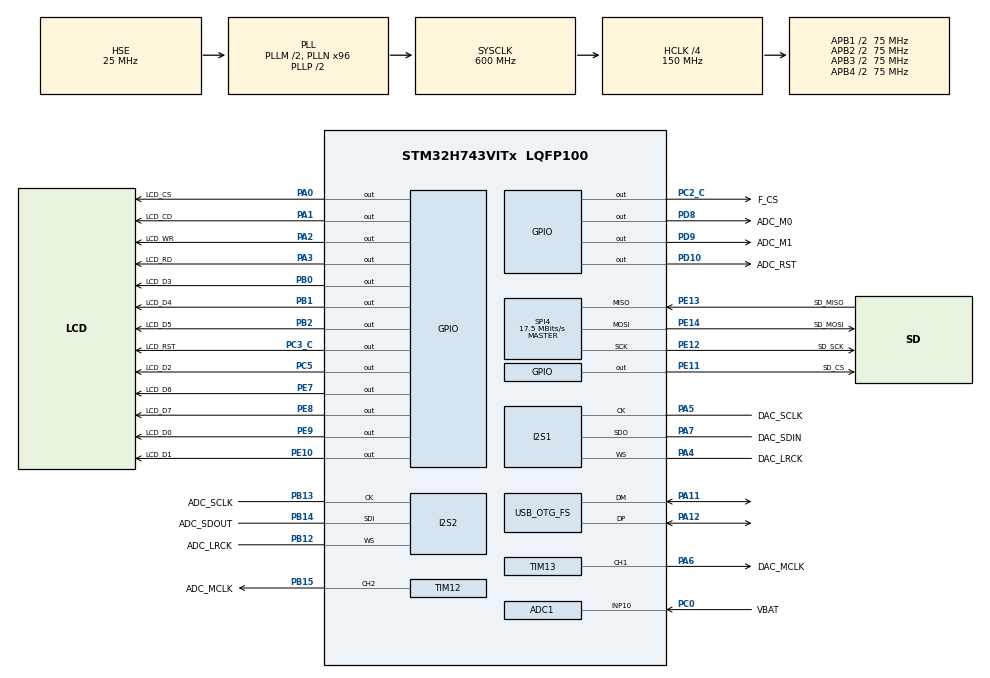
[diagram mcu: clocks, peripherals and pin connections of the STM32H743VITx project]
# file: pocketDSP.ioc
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ADC1.Channel-2\#ChannelRegularConversion=ADC_CHANNEL_10
ADC1.NbrOfConversionFlag=1
ADC1.OffsetNumber-2\#ChannelRegularConversion=ADC_OFFSET_NONE
ADC1.OffsetSignedSaturation-2\#ChannelRegularConversion=DISABLE
ADC1.Rank-2\#ChannelRegularConversion=1
ADC1.Resolution=ADC_RESOLUTION_12B_OPT
ADC1.SamplingTime-2\#ChannelRegularConversion=ADC_SAMPLETIME_8CYCLES_5
ADC1.master=1
CORTEX_M7.CPU_DCache=Enabled
CORTEX_M7.CPU_ICache=Enabled
I2S1.AudioFreq=I2S_AUDIOFREQ_48K
I2S1.DataFormat=I2S_DATAFORMAT_24B
I2S1.ErrorAudioFreq=1.72 %
I2S1.FullDuplexMode=I2S_MODE_SLAVE_FD
I2S1.Instance=SPI$Index
I2S1.RealAudioFreq=48.828 KHz
I2S1.Standard=I2S_STANDARD_MSB
I2S1.VirtualMode=I2S_MODE_MASTER
I2S1.WSInversion=I2S_WS_INVERSION_ENABLE
I2S2.AudioFreq=I2S_AUDIOFREQ_48K
I2S2.DataFormat=I2S_DATAFORMAT_24B
I2S2.ErrorAudioFreq=1.72 %
I2S2.FullDuplexMode=I2S_MODE_SLAVE_FD
I2S2.Instance=SPI$Index
I2S2.RealAudioFreq=48.828 KHz
I2S2.Standard=I2S_STANDARD_MSB
I2S2.VirtualMode=I2S_MODE_SLAVE
I2S2.WSInversion=I2S_WS_INVERSION_ENABLE
Mcu.Family=STM32H7
Mcu.Name=STM32H743VITx
Mcu.Package=LQFP100
NVIC.OTG_FS_IRQn=true\:0\:0\:false\:false\:true\:false\:true
NVIC.PriorityGroup=NVIC_PRIORITYGROUP_4
NVIC.TIM17_IRQn=true\:0\:0\:false\:false\:true\:true\:true
NVIC.TIM8_TRG_COM_TIM14_IRQn=true\:0\:0\:false\:false\:true\:true\:true
PA0.GPIO_Label=LCD_CS
PA0.GPIO_Speed=GPIO_SPEED_FREQ_VERY_HIGH
PA0.Signal=GPIO_Output
PA1.GPIO_Label=LCD_CD
PA1.GPIO_Speed=GPIO_SPEED_FREQ_VERY_HIGH
PA1.Signal=GPIO_Output
PA11.Mode=Device_Only
PA11.Signal=USB_OTG_FS_DM
PA12.Mode=Device_Only
PA12.Signal=USB_OTG_FS_DP
PA2.GPIO_Label=LCD_WR
PA2.GPIO_Speed=GPIO_SPEED_FREQ_VERY_HIGH
PA2.Signal=GPIO_Output
PA3.GPIO_Label=LCD_RD
PA3.GPIO_Speed=GPIO_SPEED_FREQ_VERY_HIGH
PA3.PinState=GPIO_PIN_SET
PA3.Signal=GPIO_Output
PA4.GPIO_Label=DAC_LRCK
PA4.GPIO_Speed=GPIO_SPEED_FREQ_VERY_HIGH
PA4.Mode=Half_Duplex_Master_Tx
PA4.Signal=I2S1_WS
PA5.GPIO_Label=DAC_SCLK
PA5.GPIO_Speed=GPIO_SPEED_FREQ_VERY_HIGH
PA5.Mode=Half_Duplex_Master_Tx
PA5.Signal=I2S1_CK
PA6.GPIO_Label=DAC_MCLK
PA6.GPIO_Speed=GPIO_SPEED_FREQ_VERY_HIGH
PA6.Signal=S_TIM13_CH1
PA7.GPIO_Label=DAC_SDIN
PA7.GPIO_Speed=GPIO_SPEED_FREQ_VERY_HIGH
PA7.Mode=Half_Duplex_Master_Tx
PA7.Signal=I2S1_SDO
PB0.GPIO_Label=LCD_D3
PB0.GPIO_Speed=GPIO_SPEED_FREQ_VERY_HIGH
PB0.Signal=GPIO_Output
PB1.GPIO_Label=LCD_D4
PB1.GPIO_Speed=GPIO_SPEED_FREQ_VERY_HIGH
PB1.Signal=GPIO_Output
PB12.GPIO_Label=ADC_LRCK
PB12.GPIO_Speed=GPIO_SPEED_FREQ_VERY_HIGH
PB12.Mode=Half_Duplex_Master_Rx
PB12.Signal=I2S2_WS
PB13.GPIO_Label=ADC_SCLK
PB13.GPIO_Speed=GPIO_SPEED_FREQ_VERY_HIGH
PB13.Mode=Half_Duplex_Master_Rx
PB13.Signal=I2S2_CK
PB14.GPIO_Label=ADC_SDOUT
PB14.GPIO_PuPd=GPIO_PULLDOWN
PB14.GPIO_Speed=GPIO_SPEED_FREQ_VERY_HIGH
PB14.Mode=Half_Duplex_Master_Rx
PB14.Signal=I2S2_SDI
PB15.GPIO_Label=ADC_MCLK
PB15.GPIO_Speed=GPIO_SPEED_FREQ_VERY_HIGH
PB15.Signal=S_TIM12_CH2
PB2.GPIO_Label=LCD_D5
PB2.GPIO_Speed=GPIO_SPEED_FREQ_VERY_HIGH
PB2.Signal=GPIO_Output
PC0.GPIO_Label=VBAT
PC0.Signal=ADCx_INP10
PC2_C.GPIO_Label=F_CS
PC2_C.GPIO_Speed=GPIO_SPEED_FREQ_VERY_HIGH
PC2_C.PinState=GPIO_PIN_SET
PC2_C.Signal=GPIO_Output
PC3_C.GPIO_Label=LCD_RST
PC3_C.GPIO_Speed=GPIO_SPEED_FREQ_VERY_HIGH
PC3_C.Signal=GPIO_Output
PC5.GPIO_Label=LCD_D2
PC5.GPIO_Speed=GPIO_SPEED_FREQ_VERY_HIGH
PC5.Signal=GPIO_Output
PD10.GPIO_Label=ADC_RST
PD10.GPIO_Speed=GPIO_SPEED_FREQ_VERY_HIGH
PD10.PinState=GPIO_PIN_RESET
PD10.Signal=GPIO_Output
PD8.GPIO_Label=ADC_M0
PD8.GPIO_Speed=GPIO_SPEED_FREQ_VERY_HIGH
PD8.PinState=GPIO_PIN_SET
PD8.Signal=GPIO_Output
PD9.GPIO_Label=ADC_M1
PD9.GPIO_Speed=GPIO_SPEED_FREQ_VERY_HIGH
PD9.PinState=GPIO_PIN_SET
PD9.Signal=GPIO_Output
PE10.GPIO_Label=LCD_D1
PE10.GPIO_Speed=GPIO_SPEED_FREQ_VERY_HIGH
PE10.Signal=GPIO_Output
PE11.GPIO_Label=SD_CS
PE11.GPIO_Speed=GPIO_SPEED_FREQ_VERY_HIGH
PE11.Signal=GPIO_Output
PE12.GPIO_Label=SD_SCK
PE12.GPIO_Speed=GPIO_SPEED_FREQ_VERY_HIGH
PE12.Mode=Full_Duplex_Master
PE12.Signal=SPI4_SCK
PE13.GPIO_Label=SD_MISO
PE13.GPIO_Speed=GPIO_SPEED_FREQ_VERY_HIGH
PE13.Mode=Full_Duplex_Master
PE13.Signal=SPI4_MISO
PE14.GPIO_Label=SD_MOSI
PE14.GPIO_Speed=GPIO_SPEED_FREQ_VERY_HIGH
PE14.Mode=Full_Duplex_Master
PE14.Signal=SPI4_MOSI
PE7.GPIO_Label=LCD_D6
PE7.GPIO_Speed=GPIO_SPEED_FREQ_VERY_HIGH
PE7.Signal=GPIO_Output
PE8.GPIO_Label=LCD_D7
PE8.GPIO_Speed=GPIO_SPEED_FREQ_VERY_HIGH
PE8.Signal=GPIO_Output
PE9.GPIO_Label=LCD_D0
PE9.GPIO_Speed=GPIO_SPEED_FREQ_VERY_HIGH
PE9.Signal=GPIO_Output
PH0-OSC_IN\ (PH0).Mode=HSE-External-Oscillator
PH0-OSC_IN\ (PH0).Signal=RCC_OSC_IN
PH1-OSC_OUT\ (PH1).Mode=HSE-External-Oscillator
PH1-OSC_OUT\ (PH1).Signal=RCC_OSC_OUT
ProjectManager.HeapSize=0x200
ProjectManager.StackSize=0x400
ProjectManager.TargetToolchain=STM32CubeIDE
RCC.ADCFreq_Value=35000000
RCC.APB1Freq_Value=75000000
RCC.APB2Freq_Value=75000000
RCC.APB3Freq_Value=75000000
RCC.APB4Freq_Value=75000000
RCC.CortexFreq_Value=600000000
RCC.D1PPRE=RCC_APB3_DIV2
RCC.D2PPRE1=RCC_APB1_DIV2
RCC.D2PPRE2=RCC_APB2_DIV2
RCC.D3PPRE=RCC_APB4_DIV2
RCC.DIVM1=2
RCC.DIVM2=2
RCC.DIVM3=2
RCC.DIVN1=96
RCC.DIVN2=14
RCC.DIVN3=16
RCC.DIVP2=5
RCC.DIVP3=4
RCC.DIVQ1=16
RCC.DIVQ2=5
RCC.HCLKFreq_Value=150000000
RCC.HPRE=RCC_HCLK_DIV4
RCC.PLL2FRACN=0
RCC.PLL3FRACN=0
RCC.PLLFRACN=0
RCC.PLLSourceVirtual=RCC_PLLSOURCE_HSE
RCC.SPI123CLockSelection=RCC_SPI123CLKSOURCE_PLL3
RCC.SYSCLKFreq_VALUE=600000000
RCC.SYSCLKSource=RCC_SYSCLKSOURCE_PLLCLK
RCC.Spi45ClockSelection=RCC_SPI45CLKSOURCE_PLL2
RCC.USBCLockSelection=RCC_USBCLKSOURCE_HSI48
RCC.USBFreq_Value=48000000
SH.ADCx_INP10.0=ADC1_INP10,IN10-Single-Ended
SH.S_TIM12_CH2.0=TIM12_CH2,PWM Generation2 CH2
SH.S_TIM13_CH1.0=TIM13_CH1,PWM Generation1 CH1
SPI4.CalculateBaudRate=17.5 MBits/s
SPI4.Direction=SPI_DIRECTION_2LINES
SPI4.Mode=SPI_MODE_MASTER
SPI4.VirtualType=VM_MASTER
TIM12.Channel-PWM\ Generation2\ CH2=TIM_CHANNEL_2
TIM12.Period=5
TIM12.Prescaler=0
TIM12.Pulse-PWM\ Generation2\ CH2=3
TIM13.Channel=TIM_CHANNEL_1
TIM13.Period=11
TIM13.Prescaler=0
TIM13.Pulse=7
TIM14.Channel=TIM_CHANNEL_1
TIM14.Period=767
TIM14.Prescaler=3
TIM16.Channel=TIM_CHANNEL_1
TIM16.Prescaler=149
TIM17.Channel=TIM_CHANNEL_1
TIM17.Period=999
TIM17.Prescaler=149
USB_DEVICE.CLASS_NAME_FS=CDC
USB_DEVICE.VirtualMode-CDC_FS=Cdc
USB_DEVICE.VirtualModeFS=Cdc_FS
USB_OTG_FS.VirtualMode=Device_Only
VP_TIM12_VS_ClockSourceINT.Mode=Internal
VP_TIM13_VS_ClockSourceINT.Mode=Enable_Timer
VP_TIM14_VS_ClockSourceINT.Mode=Enable_Timer
VP_TIM14_VS_no_output1.Mode=Output Compare1 No Output
VP_TIM16_VS_ClockSourceINT.Mode=Enable_Timer
VP_TIM16_VS_no_output1.Mode=Output Compare1 No Output
VP_TIM17_VS_ClockSourceINT.Mode=Enable_Timer
VP_TIM17_VS_no_output1.Mode=Output Compare1 No Output
VP_USB_DEVICE_VS_USB_DEVICE_CDC_FS.Mode=CDC_FS
VP_VREFBUF_V_VREFBUF.Mode=ExternalMode
board=custom

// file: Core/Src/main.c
/* USER CODE BEGIN Header */
/**
 ******************************************************************************
 * @file           : main.c
 * @brief          : Main program body
 ******************************************************************************
 * @attention
 *
 * <h2><center>&copy; Copyright (c) 2021 STMicroelectronics.
 * All rights reserved.</center></h2>
 *
 * This software component is licensed by ST under BSD 3-Clause license,
 * the "License"; You may not use this file except in compliance with the
 * License. You may obtain a copy of the License at:
 *                        opensource.org/licenses/BSD-3-Clause
 *
 ******************************************************************************
 */
/* USER CODE END Header */
#include "main.h"
#include "usb_device.h"

/* USER CODE BEGIN Includes */
#include "tft.h"
#include "system.h"
/* USER CODE END Includes */

ADC_HandleTypeDef hadc1;

I2S_HandleTypeDef hi2s1;
I2S_HandleTypeDef hi2s2;

SPI_HandleTypeDef hspi4;

TIM_HandleTypeDef htim12;
TIM_HandleTypeDef htim13;
TIM_HandleTypeDef htim14;
TIM_HandleTypeDef htim16;
TIM_HandleTypeDef htim17;

/* USER CODE BEGIN PV */

lv_disp_draw_buf_t draw_buf;
__attribute__ ((section(".RAMD3"),used)) lv_color_t buf1[480 * 32];
__attribute__ ((section(".RAMD3"),used)) lv_color_t buf2[480 * 32];
lv_disp_drv_t disp_drv;
lv_indev_drv_t indev_drv;
uint16_t ts_x, ts_y, ts_z;

/* USER CODE END PV */

void SystemClock_Config(void);
void PeriphCommonClock_Config(void);
static void MX_GPIO_Init(void);
static void MX_TIM16_Init(void);
static void MX_TIM17_Init(void);
static void MX_I2S2_Init(void);
static void MX_I2S1_Init(void);
static void MX_ADC1_Init(void);
static void MX_SPI4_Init(void);
static void MX_TIM13_Init(void);
static void MX_TIM14_Init(void);
static void MX_TIM12_Init(void);

/* USER CODE BEGIN 0 */

void my_disp_flush(lv_disp_drv_t *disp, lv_area_t *area, lv_color_t *color_p) {

	drawScreen((uint16_t*) color_p, area);
	lv_disp_flush_ready(disp); /* Indicate you are ready with the flushing*/
}

void my_touchpad_read(lv_indev_t *indev, lv_indev_data_t *data) {

	readTouch(&ts_x, &ts_y, &ts_z);
	if (ts_z >= 300)
		data->state = LV_INDEV_STATE_PR;
	else
		data->state = LV_INDEV_STATE_REL;

	if (data->state == LV_INDEV_STATE_PR) {
		data->point.x = ts_x;
		data->point.y = ts_y;
	}

}

/* USER CODE END 0 */

int main(void)
{

  /* Enable I-Cache---------------------------------------------------------*/
  SCB_EnableICache();

  /* Enable D-Cache---------------------------------------------------------*/
  SCB_EnableDCache();

  /* MCU Configuration--------------------------------------------------------*/

  /* Reset of all peripherals, Initializes the Flash interface and the Systick. */
  HAL_Init();

  /* Configure the system clock */
  SystemClock_Config();

/* Configure the peripherals common clocks */
  PeriphCommonClock_Config();

  /* USER CODE BEGIN SysInit */

  //wait for the DAC/ADC capacitors charge to 1.67V
  GPIO_InitTypeDef GPIO_InitStruct;
  __HAL_RCC_GPIOA_CLK_ENABLE();
  HAL_GPIO_WritePin(GPIOA, GPIO_PIN_4, GPIO_PIN_RESET);
  HAL_GPIO_WritePin(GPIOA, GPIO_PIN_5, GPIO_PIN_RESET);
  HAL_GPIO_WritePin(GPIOA, GPIO_PIN_6, GPIO_PIN_RESET);
  HAL_GPIO_WritePin(GPIOA, GPIO_PIN_7, GPIO_PIN_RESET);
  GPIO_InitStruct.Pin = GPIO_PIN_4|GPIO_PIN_5|GPIO_PIN_6|GPIO_PIN_7;
  GPIO_InitStruct.Mode = GPIO_MODE_OUTPUT_PP;
  GPIO_InitStruct.Speed = GPIO_SPEED_FREQ_VERY_HIGH;
  HAL_GPIO_Init(GPIOA, &GPIO_InitStruct);
  HAL_Delay(500);

  /* USER CODE END SysInit */

  /* Initialize all configured peripherals */
  MX_GPIO_Init();
  MX_TIM16_Init();
  MX_USB_DEVICE_Init();
  MX_TIM17_Init();
  MX_I2S2_Init();
  MX_I2S1_Init();
  MX_ADC1_Init();
  MX_SPI4_Init();
  MX_TIM13_Init();
  MX_TIM14_Init();
  MX_TIM12_Init();
  /* USER CODE BEGIN 2 */

	HAL_ADC_Start(&hadc1); //internal DAC start
	HAL_TIM_Base_Start(&htim16); //delay us timer

	//TFT init
	uint16_t ID = readID();
	HAL_Delay(100);
	tft_init(ID);
	setRotation(1);
	fillScreen(BLACK);

	//gui init
	lv_init();
	lv_disp_draw_buf_init(&draw_buf, buf1, buf2, 480 * 32);
	lv_disp_drv_init(&disp_drv);
	disp_drv.flush_cb = my_disp_flush;
	disp_drv.draw_buf = &draw_buf;
	disp_drv.hor_res = 480;
	disp_drv.ver_res = 320;
	lv_disp_drv_register(&disp_drv);
	lv_indev_drv_init(&indev_drv);
	indev_drv.type = LV_INDEV_TYPE_POINTER;
	indev_drv.read_cb = my_touchpad_read;
	lv_indev_drv_register(&indev_drv);
	HAL_TIM_Base_Start_IT(&htim17); //lvgl tick timer

	DAC_Init();
	ADC_Init();
	dsp_fx_init();
	sample_callback = &play_startup_sound;
	HAL_TIM_Base_Start_IT(&htim14); //sampling timer
	logo_screen();
	reset_app(); //start gui

  /* USER CODE END 2 */

  /* Infinite loop */
	while (1) {

    /* USER CODE BEGIN 3 */
		sys_status_refresh();
		lv_task_handler();
		lv_timer_handler();
		HAL_Delay(5);

	}
  /* USER CODE END 3 */
}

void SystemClock_Config(void)
{
  RCC_OscInitTypeDef RCC_OscInitStruct = {0};
  RCC_ClkInitTypeDef RCC_ClkInitStruct = {0};

  /** Supply configuration update enable
  */
  HAL_PWREx_ConfigSupply(PWR_LDO_SUPPLY);
  /** Configure the main internal regulator output voltage
  */
  __HAL_PWR_VOLTAGESCALING_CONFIG(PWR_REGULATOR_VOLTAGE_SCALE0);

  while(!__HAL_PWR_GET_FLAG(PWR_FLAG_VOSRDY)) {}
  /** Macro to configure the PLL clock source
  */
  __HAL_RCC_PLL_PLLSOURCE_CONFIG(RCC_PLLSOURCE_HSE);
  /** Initializes the RCC Oscillators according to the specified parameters
  * in the RCC_OscInitTypeDef structure.
  */
  RCC_OscInitStruct.OscillatorType = RCC_OSCILLATORTYPE_HSI48|RCC_OSCILLATORTYPE_HSE;
  RCC_OscInitStruct.HSEState = RCC_HSE_ON;
  RCC_OscInitStruct.HSI48State = RCC_HSI48_ON;
  RCC_OscInitStruct.PLL.PLLState = RCC_PLL_ON;
  RCC_OscInitStruct.PLL.PLLSource = RCC_PLLSOURCE_HSE;
  RCC_OscInitStruct.PLL.PLLM = 2;
  RCC_OscInitStruct.PLL.PLLN = 96;
  RCC_OscInitStruct.PLL.PLLP = 2;
  RCC_OscInitStruct.PLL.PLLQ = 16;
  RCC_OscInitStruct.PLL.PLLR = 2;
  RCC_OscInitStruct.PLL.PLLRGE = RCC_PLL1VCIRANGE_3;
  RCC_OscInitStruct.PLL.PLLVCOSEL = RCC_PLL1VCOWIDE;
  RCC_OscInitStruct.PLL.PLLFRACN = 0;
  if (HAL_RCC_OscConfig(&RCC_OscInitStruct) != HAL_OK)
  {
    Error_Handler();
  }
  /** Initializes the CPU, AHB and APB buses clocks
  */
  RCC_ClkInitStruct.ClockType = RCC_CLOCKTYPE_HCLK|RCC_CLOCKTYPE_SYSCLK
                              |RCC_CLOCKTYPE_PCLK1|RCC_CLOCKTYPE_PCLK2
                              |RCC_CLOCKTYPE_D3PCLK1|RCC_CLOCKTYPE_D1PCLK1;
  RCC_ClkInitStruct.SYSCLKSource = RCC_SYSCLKSOURCE_PLLCLK;
  RCC_ClkInitStruct.SYSCLKDivider = RCC_SYSCLK_DIV1;
  RCC_ClkInitStruct.AHBCLKDivider = RCC_HCLK_DIV4;
  RCC_ClkInitStruct.APB3CLKDivider = RCC_APB3_DIV2;
  RCC_ClkInitStruct.APB1CLKDivider = RCC_APB1_DIV2;
  RCC_ClkInitStruct.APB2CLKDivider = RCC_APB2_DIV2;
  RCC_ClkInitStruct.APB4CLKDivider = RCC_APB4_DIV2;

  if (HAL_RCC_ClockConfig(&RCC_ClkInitStruct, FLASH_LATENCY_2) != HAL_OK)
  {
    Error_Handler();
  }
}

void PeriphCommonClock_Config(void)
{
  RCC_PeriphCLKInitTypeDef PeriphClkInitStruct = {0};

  /** Initializes the peripherals clock
  */
  PeriphClkInitStruct.PeriphClockSelection = RCC_PERIPHCLK_ADC|RCC_PERIPHCLK_SPI2
                              |RCC_PERIPHCLK_SPI1|RCC_PERIPHCLK_SPI4;
  PeriphClkInitStruct.PLL2.PLL2M = 2;
  PeriphClkInitStruct.PLL2.PLL2N = 14;
  PeriphClkInitStruct.PLL2.PLL2P = 5;
  PeriphClkInitStruct.PLL2.PLL2Q = 5;
  PeriphClkInitStruct.PLL2.PLL2R = 2;
  PeriphClkInitStruct.PLL2.PLL2RGE = RCC_PLL2VCIRANGE_3;
  PeriphClkInitStruct.PLL2.PLL2VCOSEL = RCC_PLL2VCOMEDIUM;
  PeriphClkInitStruct.PLL2.PLL2FRACN = 0;
  PeriphClkInitStruct.PLL3.PLL3M = 2;
  PeriphClkInitStruct.PLL3.PLL3N = 16;
  PeriphClkInitStruct.PLL3.PLL3P = 4;
  PeriphClkInitStruct.PLL3.PLL3Q = 2;
  PeriphClkInitStruct.PLL3.PLL3R = 2;
  PeriphClkInitStruct.PLL3.PLL3RGE = RCC_PLL3VCIRANGE_3;
  PeriphClkInitStruct.PLL3.PLL3VCOSEL = RCC_PLL3VCOWIDE;
  PeriphClkInitStruct.PLL3.PLL3FRACN = 0;
  PeriphClkInitStruct.Spi123ClockSelection = RCC_SPI123CLKSOURCE_PLL3;
  PeriphClkInitStruct.Spi45ClockSelection = RCC_SPI45CLKSOURCE_PLL2;
  PeriphClkInitStruct.AdcClockSelection = RCC_ADCCLKSOURCE_PLL2;
  if (HAL_RCCEx_PeriphCLKConfig(&PeriphClkInitStruct) != HAL_OK)
  {
    Error_Handler();
  }
}

static void MX_ADC1_Init(void)
{

  ADC_MultiModeTypeDef multimode = {0};
  ADC_ChannelConfTypeDef sConfig = {0};

  /** Common config
  */
  hadc1.Instance = ADC1;
  hadc1.Init.ClockPrescaler = ADC_CLOCK_ASYNC_DIV1;
  hadc1.Init.Resolution = ADC_RESOLUTION_12B_OPT;
  hadc1.Init.ScanConvMode = ADC_SCAN_DISABLE;
  hadc1.Init.EOCSelection = ADC_EOC_SINGLE_CONV;
  hadc1.Init.LowPowerAutoWait = DISABLE;
  hadc1.Init.ContinuousConvMode = DISABLE;
  hadc1.Init.NbrOfConversion = 1;
  hadc1.Init.DiscontinuousConvMode = DISABLE;
  hadc1.Init.ExternalTrigConv = ADC_SOFTWARE_START;
  hadc1.Init.ExternalTrigConvEdge = ADC_EXTERNALTRIGCONVEDGE_NONE;
  hadc1.Init.ConversionDataManagement = ADC_CONVERSIONDATA_DR;
  hadc1.Init.Overrun = ADC_OVR_DATA_PRESERVED;
  hadc1.Init.LeftBitShift = ADC_LEFTBITSHIFT_NONE;
  hadc1.Init.OversamplingMode = DISABLE;
  if (HAL_ADC_Init(&hadc1) != HAL_OK)
  {
    Error_Handler();
  }
  /** Configure the ADC multi-mode
  */
  multimode.Mode = ADC_MODE_INDEPENDENT;
  if (HAL_ADCEx_MultiModeConfigChannel(&hadc1, &multimode) != HAL_OK)
  {
    Error_Handler();
  }
  /** Configure Regular Channel
  */
  sConfig.Channel = ADC_CHANNEL_10;
  sConfig.Rank = ADC_REGULAR_RANK_1;
  sConfig.SamplingTime = ADC_SAMPLETIME_8CYCLES_5;
  sConfig.SingleDiff = ADC_SINGLE_ENDED;
  sConfig.OffsetNumber = ADC_OFFSET_NONE;
  sConfig.Offset = 0;
  sConfig.OffsetSignedSaturation = DISABLE;
  if (HAL_ADC_ConfigChannel(&hadc1, &sConfig) != HAL_OK)
  {
    Error_Handler();
  }

}

static void MX_I2S1_Init(void)
{

  hi2s1.Instance = SPI1;
  hi2s1.Init.Mode = I2S_MODE_MASTER_TX;
  hi2s1.Init.Standard = I2S_STANDARD_MSB;
  hi2s1.Init.DataFormat = I2S_DATAFORMAT_24B;
  hi2s1.Init.MCLKOutput = I2S_MCLKOUTPUT_DISABLE;
  hi2s1.Init.AudioFreq = I2S_AUDIOFREQ_48K;
  hi2s1.Init.CPOL = I2S_CPOL_LOW;
  hi2s1.Init.FirstBit = I2S_FIRSTBIT_MSB;
  hi2s1.Init.WSInversion = I2S_WS_INVERSION_ENABLE;
  hi2s1.Init.Data24BitAlignment = I2S_DATA_24BIT_ALIGNMENT_RIGHT;
  hi2s1.Init.MasterKeepIOState = I2S_MASTER_KEEP_IO_STATE_DISABLE;
  if (HAL_I2S_Init(&hi2s1) != HAL_OK)
  {
    Error_Handler();
  }

}

static void MX_I2S2_Init(void)
{

  hi2s2.Instance = SPI2;
  hi2s2.Init.Mode = I2S_MODE_MASTER_RX;
  hi2s2.Init.Standard = I2S_STANDARD_MSB;
  hi2s2.Init.DataFormat = I2S_DATAFORMAT_24B;
  hi2s2.Init.MCLKOutput = I2S_MCLKOUTPUT_DISABLE;
  hi2s2.Init.AudioFreq = I2S_AUDIOFREQ_48K;
  hi2s2.Init.CPOL = I2S_CPOL_LOW;
  hi2s2.Init.FirstBit = I2S_FIRSTBIT_MSB;
  hi2s2.Init.WSInversion = I2S_WS_INVERSION_ENABLE;
  hi2s2.Init.Data24BitAlignment = I2S_DATA_24BIT_ALIGNMENT_RIGHT;
  hi2s2.Init.MasterKeepIOState = I2S_MASTER_KEEP_IO_STATE_DISABLE;
  if (HAL_I2S_Init(&hi2s2) != HAL_OK)
  {
    Error_Handler();
  }

}

static void MX_SPI4_Init(void)
{

  /* SPI4 parameter configuration*/
  hspi4.Instance = SPI4;
  hspi4.Init.Mode = SPI_MODE_MASTER;
  hspi4.Init.Direction = SPI_DIRECTION_2LINES;
  hspi4.Init.DataSize = SPI_DATASIZE_4BIT;
  hspi4.Init.CLKPolarity = SPI_POLARITY_LOW;
  hspi4.Init.CLKPhase = SPI_PHASE_1EDGE;
  hspi4.Init.NSS = SPI_NSS_SOFT;
  hspi4.Init.BaudRatePrescaler = SPI_BAUDRATEPRESCALER_2;
  hspi4.Init.FirstBit = SPI_FIRSTBIT_MSB;
  hspi4.Init.TIMode = SPI_TIMODE_DISABLE;
  hspi4.Init.CRCCalculation = SPI_CRCCALCULATION_DISABLE;
  hspi4.Init.CRCPolynomial = 0x0;
  hspi4.Init.NSSPMode = SPI_NSS_PULSE_ENABLE;
  hspi4.Init.NSSPolarity = SPI_NSS_POLARITY_LOW;
  hspi4.Init.FifoThreshold = SPI_FIFO_THRESHOLD_01DATA;
  hspi4.Init.TxCRCInitializationPattern = SPI_CRC_INITIALIZATION_ALL_ZERO_PATTERN;
  hspi4.Init.RxCRCInitializationPattern = SPI_CRC_INITIALIZATION_ALL_ZERO_PATTERN;
  hspi4.Init.MasterSSIdleness = SPI_MASTER_SS_IDLENESS_00CYCLE;
  hspi4.Init.MasterInterDataIdleness = SPI_MASTER_INTERDATA_IDLENESS_00CYCLE;
  hspi4.Init.MasterReceiverAutoSusp = SPI_MASTER_RX_AUTOSUSP_DISABLE;
  hspi4.Init.MasterKeepIOState = SPI_MASTER_KEEP_IO_STATE_DISABLE;
  hspi4.Init.IOSwap = SPI_IO_SWAP_DISABLE;
  if (HAL_SPI_Init(&hspi4) != HAL_OK)
  {
    Error_Handler();
  }

}

static void MX_TIM12_Init(void)
{

  TIM_ClockConfigTypeDef sClockSourceConfig = {0};
  TIM_OC_InitTypeDef sConfigOC = {0};

  htim12.Instance = TIM12;
  htim12.Init.Prescaler = 0;
  htim12.Init.CounterMode = TIM_COUNTERMODE_UP;
  htim12.Init.Period = 5;
  htim12.Init.ClockDivision = TIM_CLOCKDIVISION_DIV1;
  htim12.Init.AutoReloadPreload = TIM_AUTORELOAD_PRELOAD_DISABLE;
  if (HAL_TIM_Base_Init(&htim12) != HAL_OK)
  {
    Error_Handler();
  }
  sClockSourceConfig.ClockSource = TIM_CLOCKSOURCE_INTERNAL;
  if (HAL_TIM_ConfigClockSource(&htim12, &sClockSourceConfig) != HAL_OK)
  {
    Error_Handler();
  }
  if (HAL_TIM_PWM_Init(&htim12) != HAL_OK)
  {
    Error_Handler();
  }
  sConfigOC.OCMode = TIM_OCMODE_PWM1;
  sConfigOC.Pulse = 3;
  sConfigOC.OCPolarity = TIM_OCPOLARITY_HIGH;
  sConfigOC.OCFastMode = TIM_OCFAST_DISABLE;
  if (HAL_TIM_PWM_ConfigChannel(&htim12, &sConfigOC, TIM_CHANNEL_2) != HAL_OK)
  {
    Error_Handler();
  }
  HAL_TIM_MspPostInit(&htim12);

}

static void MX_TIM13_Init(void)
{

  TIM_OC_InitTypeDef sConfigOC = {0};

  htim13.Instance = TIM13;
  htim13.Init.Prescaler = 0;
  htim13.Init.CounterMode = TIM_COUNTERMODE_UP;
  htim13.Init.Period = 11;
  htim13.Init.ClockDivision = TIM_CLOCKDIVISION_DIV1;
  htim13.Init.AutoReloadPreload = TIM_AUTORELOAD_PRELOAD_DISABLE;
  if (HAL_TIM_Base_Init(&htim13) != HAL_OK)
  {
    Error_Handler();
  }
  if (HAL_TIM_PWM_Init(&htim13) != HAL_OK)
  {
    Error_Handler();
  }
  sConfigOC.OCMode = TIM_OCMODE_PWM1;
  sConfigOC.Pulse = 7;
  sConfigOC.OCPolarity = TIM_OCPOLARITY_HIGH;
  sConfigOC.OCFastMode = TIM_OCFAST_DISABLE;
  if (HAL_TIM_PWM_ConfigChannel(&htim13, &sConfigOC, TIM_CHANNEL_1) != HAL_OK)
  {
    Error_Handler();
  }
  HAL_TIM_MspPostInit(&htim13);

}

static void MX_TIM14_Init(void)
{

  TIM_OC_InitTypeDef sConfigOC = {0};

  htim14.Instance = TIM14;
  htim14.Init.Prescaler = 3;
  htim14.Init.CounterMode = TIM_COUNTERMODE_UP;
  htim14.Init.Period = 767;
  htim14.Init.ClockDivision = TIM_CLOCKDIVISION_DIV1;
  htim14.Init.AutoReloadPreload = TIM_AUTORELOAD_PRELOAD_DISABLE;
  if (HAL_TIM_Base_Init(&htim14) != HAL_OK)
  {
    Error_Handler();
  }
  if (HAL_TIM_OC_Init(&htim14) != HAL_OK)
  {
    Error_Handler();
  }
  sConfigOC.OCMode = TIM_OCMODE_TIMING;
  sConfigOC.Pulse = 0;
  sConfigOC.OCPolarity = TIM_OCPOLARITY_HIGH;
  sConfigOC.OCFastMode = TIM_OCFAST_DISABLE;
  if (HAL_TIM_OC_ConfigChannel(&htim14, &sConfigOC, TIM_CHANNEL_1) != HAL_OK)
  {
    Error_Handler();
  }

}

static void MX_TIM16_Init(void)
{

  TIM_OC_InitTypeDef sConfigOC = {0};
  TIM_BreakDeadTimeConfigTypeDef sBreakDeadTimeConfig = {0};

  htim16.Instance = TIM16;
  htim16.Init.Prescaler = 149;
  htim16.Init.CounterMode = TIM_COUNTERMODE_UP;
  htim16.Init.Period = 65535;
  htim16.Init.ClockDivision = TIM_CLOCKDIVISION_DIV1;
  htim16.Init.RepetitionCounter = 0;
  htim16.Init.AutoReloadPreload = TIM_AUTORELOAD_PRELOAD_DISABLE;
  if (HAL_TIM_Base_Init(&htim16) != HAL_OK)
  {
    Error_Handler();
  }
  if (HAL_TIM_OC_Init(&htim16) != HAL_OK)
  {
    Error_Handler();
  }
  sConfigOC.OCMode = TIM_OCMODE_TIMING;
  sConfigOC.Pulse = 0;
  sConfigOC.OCPolarity = TIM_OCPOLARITY_HIGH;
  sConfigOC.OCNPolarity = TIM_OCNPOLARITY_HIGH;
  sConfigOC.OCFastMode = TIM_OCFAST_DISABLE;
  sConfigOC.OCIdleState = TIM_OCIDLESTATE_RESET;
  sConfigOC.OCNIdleState = TIM_OCNIDLESTATE_RESET;
  if (HAL_TIM_OC_ConfigChannel(&htim16, &sConfigOC, TIM_CHANNEL_1) != HAL_OK)
  {
    Error_Handler();
  }
  sBreakDeadTimeConfig.OffStateRunMode = TIM_OSSR_DISABLE;
  sBreakDeadTimeConfig.OffStateIDLEMode = TIM_OSSI_DISABLE;
  sBreakDeadTimeConfig.LockLevel = TIM_LOCKLEVEL_OFF;
  sBreakDeadTimeConfig.DeadTime = 0;
  sBreakDeadTimeConfig.BreakState = TIM_BREAK_DISABLE;
  sBreakDeadTimeConfig.BreakPolarity = TIM_BREAKPOLARITY_HIGH;
  sBreakDeadTimeConfig.BreakFilter = 0;
  sBreakDeadTimeConfig.AutomaticOutput = TIM_AUTOMATICOUTPUT_DISABLE;
  if (HAL_TIMEx_ConfigBreakDeadTime(&htim16, &sBreakDeadTimeConfig) != HAL_OK)
  {
    Error_Handler();
  }

}

static void MX_TIM17_Init(void)
{

  TIM_OC_InitTypeDef sConfigOC = {0};
  TIM_BreakDeadTimeConfigTypeDef sBreakDeadTimeConfig = {0};

  htim17.Instance = TIM17;
  htim17.Init.Prescaler = 149;
  htim17.Init.CounterMode = TIM_COUNTERMODE_UP;
  htim17.Init.Period = 999;
  htim17.Init.ClockDivision = TIM_CLOCKDIVISION_DIV1;
  htim17.Init.RepetitionCounter = 0;
  htim17.Init.AutoReloadPreload = TIM_AUTORELOAD_PRELOAD_DISABLE;
  if (HAL_TIM_Base_Init(&htim17) != HAL_OK)
  {
    Error_Handler();
  }
  if (HAL_TIM_OC_Init(&htim17) != HAL_OK)
  {
    Error_Handler();
  }
  sConfigOC.OCMode = TIM_OCMODE_TIMING;
  sConfigOC.Pulse = 0;
  sConfigOC.OCPolarity = TIM_OCPOLARITY_HIGH;
  sConfigOC.OCNPolarity = TIM_OCNPOLARITY_HIGH;
  sConfigOC.OCFastMode = TIM_OCFAST_DISABLE;
  sConfigOC.OCIdleState = TIM_OCIDLESTATE_RESET;
  sConfigOC.OCNIdleState = TIM_OCNIDLESTATE_RESET;
  if (HAL_TIM_OC_ConfigChannel(&htim17, &sConfigOC, TIM_CHANNEL_1) != HAL_OK)
  {
    Error_Handler();
  }
  sBreakDeadTimeConfig.OffStateRunMode = TIM_OSSR_DISABLE;
  sBreakDeadTimeConfig.OffStateIDLEMode = TIM_OSSI_DISABLE;
  sBreakDeadTimeConfig.LockLevel = TIM_LOCKLEVEL_OFF;
  sBreakDeadTimeConfig.DeadTime = 0;
  sBreakDeadTimeConfig.BreakState = TIM_BREAK_DISABLE;
  sBreakDeadTimeConfig.BreakPolarity = TIM_BREAKPOLARITY_HIGH;
  sBreakDeadTimeConfig.BreakFilter = 0;
  sBreakDeadTimeConfig.AutomaticOutput = TIM_AUTOMATICOUTPUT_DISABLE;
  if (HAL_TIMEx_ConfigBreakDeadTime(&htim17, &sBreakDeadTimeConfig) != HAL_OK)
  {
    Error_Handler();
  }

}

static void MX_GPIO_Init(void)
{
  GPIO_InitTypeDef GPIO_InitStruct = {0};

  /* GPIO Ports Clock Enable */
  __HAL_RCC_GPIOE_CLK_ENABLE();
  __HAL_RCC_GPIOC_CLK_ENABLE();
  __HAL_RCC_GPIOH_CLK_ENABLE();
  __HAL_RCC_GPIOA_CLK_ENABLE();
  __HAL_RCC_GPIOB_CLK_ENABLE();
  __HAL_RCC_GPIOD_CLK_ENABLE();

  /*Configure GPIO pin Output Level */
  HAL_GPIO_WritePin(F_CS_GPIO_Port, F_CS_Pin, GPIO_PIN_SET);

  /*Configure GPIO pin Output Level */
  HAL_GPIO_WritePin(GPIOC, LCD_RST_Pin|LCD_D2_Pin, GPIO_PIN_RESET);

  /*Configure GPIO pin Output Level */
  HAL_GPIO_WritePin(GPIOA, LCD_CS_Pin|LCD_CD_Pin|LCD_WR_Pin, GPIO_PIN_RESET);

  /*Configure GPIO pin Output Level */
  HAL_GPIO_WritePin(LCD_RD_GPIO_Port, LCD_RD_Pin, GPIO_PIN_SET);

  /*Configure GPIO pin Output Level */
  HAL_GPIO_WritePin(GPIOB, LCD_D3_Pin|LCD_D4_Pin|LCD_D5_Pin, GPIO_PIN_RESET);

  /*Configure GPIO pin Output Level */
  HAL_GPIO_WritePin(GPIOE, LCD_D6_Pin|LCD_D7_Pin|LCD_D0_Pin|LCD_D1_Pin
                          |SD_CS_Pin, GPIO_PIN_RESET);

  /*Configure GPIO pin Output Level */
  HAL_GPIO_WritePin(GPIOD, ADC_M0_Pin|ADC_M1_Pin, GPIO_PIN_SET);

  /*Configure GPIO pin Output Level */
  HAL_GPIO_WritePin(ADC_RST_GPIO_Port, ADC_RST_Pin, GPIO_PIN_RESET);

  /*Configure GPIO pins : PE2 PE3 PE4 PE5
                           PE6 PE15 PE0 PE1 */
  GPIO_InitStruct.Pin = GPIO_PIN_2|GPIO_PIN_3|GPIO_PIN_4|GPIO_PIN_5
                          |GPIO_PIN_6|GPIO_PIN_15|GPIO_PIN_0|GPIO_PIN_1;
  GPIO_InitStruct.Mode = GPIO_MODE_ANALOG;
  GPIO_InitStruct.Pull = GPIO_NOPULL;
  HAL_GPIO_Init(GPIOE, &GPIO_InitStruct);

  /*Configure GPIO pins : PC13 PC14 PC15 PC1
                           PC4 PC6 PC7 PC8
                           PC9 PC10 PC11 PC12 */
  GPIO_InitStruct.Pin = GPIO_PIN_13|GPIO_PIN_14|GPIO_PIN_15|GPIO_PIN_1
                          |GPIO_PIN_4|GPIO_PIN_6|GPIO_PIN_7|GPIO_PIN_8
                          |GPIO_PIN_9|GPIO_PIN_10|GPIO_PIN_11|GPIO_PIN_12;
  GPIO_InitStruct.Mode = GPIO_MODE_ANALOG;
  GPIO_InitStruct.Pull = GPIO_NOPULL;
  HAL_GPIO_Init(GPIOC, &GPIO_InitStruct);

  /*Configure GPIO pins : F_CS_Pin LCD_RST_Pin LCD_D2_Pin */
  GPIO_InitStruct.Pin = F_CS_Pin|LCD_RST_Pin|LCD_D2_Pin;
  GPIO_InitStruct.Mode = GPIO_MODE_OUTPUT_PP;
  GPIO_InitStruct.Pull = GPIO_NOPULL;
  GPIO_InitStruct.Speed = GPIO_SPEED_FREQ_VERY_HIGH;
  HAL_GPIO_Init(GPIOC, &GPIO_InitStruct);

  /*Configure GPIO pins : LCD_CS_Pin LCD_CD_Pin LCD_WR_Pin LCD_RD_Pin */
  GPIO_InitStruct.Pin = LCD_CS_Pin|LCD_CD_Pin|LCD_WR_Pin|LCD_RD_Pin;
  GPIO_InitStruct.Mode = GPIO_MODE_OUTPUT_PP;
  GPIO_InitStruct.Pull = GPIO_NOPULL;
  GPIO_InitStruct.Speed = GPIO_SPEED_FREQ_VERY_HIGH;
  HAL_GPIO_Init(GPIOA, &GPIO_InitStruct);

  /*Configure GPIO pins : LCD_D3_Pin LCD_D4_Pin LCD_D5_Pin */
  GPIO_InitStruct.Pin = LCD_D3_Pin|LCD_D4_Pin|LCD_D5_Pin;
  GPIO_InitStruct.Mode = GPIO_MODE_OUTPUT_PP;
  GPIO_InitStruct.Pull = GPIO_NOPULL;
  GPIO_InitStruct.Speed = GPIO_SPEED_FREQ_VERY_HIGH;
  HAL_GPIO_Init(GPIOB, &GPIO_InitStruct);

  /*Configure GPIO pins : LCD_D6_Pin LCD_D7_Pin LCD_D0_Pin LCD_D1_Pin
                           SD_CS_Pin */
  GPIO_InitStruct.Pin = LCD_D6_Pin|LCD_D7_Pin|LCD_D0_Pin|LCD_D1_Pin
                          |SD_CS_Pin;
  GPIO_InitStruct.Mode = GPIO_MODE_OUTPUT_PP;
  GPIO_InitStruct.Pull = GPIO_NOPULL;
  GPIO_InitStruct.Speed = GPIO_SPEED_FREQ_VERY_HIGH;
  HAL_GPIO_Init(GPIOE, &GPIO_InitStruct);

  /*Configure GPIO pins : PB10 PB11 PB3 PB4
                           PB5 PB6 PB7 PB8
                           PB9 */
  GPIO_InitStruct.Pin = GPIO_PIN_10|GPIO_PIN_11|GPIO_PIN_3|GPIO_PIN_4
                          |GPIO_PIN_5|GPIO_PIN_6|GPIO_PIN_7|GPIO_PIN_8
                          |GPIO_PIN_9;
  GPIO_InitStruct.Mode = GPIO_MODE_ANALOG;
  GPIO_InitStruct.Pull = GPIO_NOPULL;
  HAL_GPIO_Init(GPIOB, &GPIO_InitStruct);

  /*Configure GPIO pins : ADC_M0_Pin ADC_M1_Pin ADC_RST_Pin */
  GPIO_InitStruct.Pin = ADC_M0_Pin|ADC_M1_Pin|ADC_RST_Pin;
  GPIO_InitStruct.Mode = GPIO_MODE_OUTPUT_PP;
  GPIO_InitStruct.Pull = GPIO_NOPULL;
  GPIO_InitStruct.Speed = GPIO_SPEED_FREQ_VERY_HIGH;
  HAL_GPIO_Init(GPIOD, &GPIO_InitStruct);

  /*Configure GPIO pins : PD11 PD12 PD13 PD14
                           PD15 PD0 PD1 PD2
                           PD3 PD4 PD5 PD6
                           PD7 */
  GPIO_InitStruct.Pin = GPIO_PIN_11|GPIO_PIN_12|GPIO_PIN_13|GPIO_PIN_14
                          |GPIO_PIN_15|GPIO_PIN_0|GPIO_PIN_1|GPIO_PIN_2
                          |GPIO_PIN_3|GPIO_PIN_4|GPIO_PIN_5|GPIO_PIN_6
                          |GPIO_PIN_7;
  GPIO_InitStruct.Mode = GPIO_MODE_ANALOG;
  GPIO_InitStruct.Pull = GPIO_NOPULL;
  HAL_GPIO_Init(GPIOD, &GPIO_InitStruct);

  /*Configure GPIO pins : PA8 PA9 PA10 PA13
                           PA14 PA15 */
  GPIO_InitStruct.Pin = GPIO_PIN_8|GPIO_PIN_9|GPIO_PIN_10|GPIO_PIN_13
                          |GPIO_PIN_14|GPIO_PIN_15;
  GPIO_InitStruct.Mode = GPIO_MODE_ANALOG;
  GPIO_InitStruct.Pull = GPIO_NOPULL;
  HAL_GPIO_Init(GPIOA, &GPIO_InitStruct);

}

/* USER CODE BEGIN 4 */
void HAL_TIM_PeriodElapsedCallback(TIM_HandleTypeDef *htim) {

	if (htim == &htim17) {
		lv_tick_inc(1);
	}

	if (htim == &htim14) {
		sample_callback();
	}

}
/* USER CODE END 4 */

void Error_Handler(void)
{
}

/************************ (C) COPYRIGHT STMicroelectronics *****END OF FILE****/
